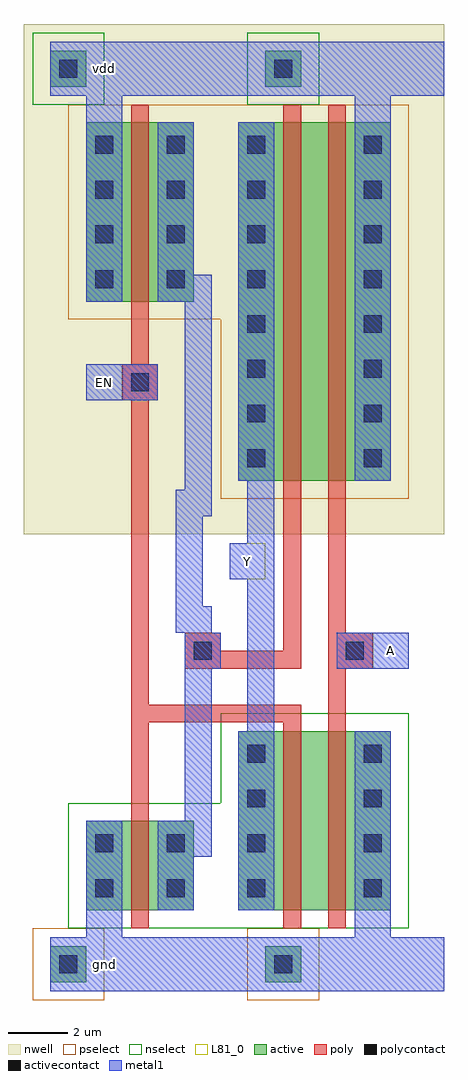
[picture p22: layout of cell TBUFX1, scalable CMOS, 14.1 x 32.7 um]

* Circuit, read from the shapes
.subckt TBUFX1 A EN Y gnd vdd
M1 n1 EN gnd gnd nfet w=3u l=0.6u
M2 n2 EN Y gnd nfet w=6u l=0.6u
M3 gnd A n2 gnd nfet w=6u l=0.6u
M4 n1 EN vdd vdd pfet w=6u l=0.6u
M5 n3 n1 Y vdd pfet w=12u l=0.6u
M6 vdd A n3 vdd pfet w=12u l=0.6u
.ends

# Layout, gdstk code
import gdstk
lib = gdstk.Library(unit=1e-6, precision=1e-09)
def R(c, l, rs):  # rectangles x0, y0, x1, y1
    for r in rs: c.add(gdstk.rectangle(r[:2], r[2:], *l))
def A(c, l, x, y, w, h, nx, ny, dx, dy):  # array of equal rectangles
    R(c, l, [(x+i*dx, y+j*dy, x+i*dx+w, y+j*dy+h) for i in range(nx) for j in range(ny)])
nwell = (42, 0)
active = (43, 0)
pselect = (44, 0)
nselect = (45, 0)
poly = (46, 0)
polycontact = (47, 0)
activecontact = (48, 0)
metal1 = (49, 0)
L81_0 = (81, 0)

tbufx1 = lib.new_cell('TBUFX1')
R(tbufx1, nwell, [(-1.5,14.4,12.6,31.5)])
R(tbufx1, active, [(-0.6,-0.6,0.6,0.6), (6.6,-0.6,7.8,0.6), (0.6,1.8,4.2,4.8), (5.7,1.8,10.8,7.8), (5.7,16.2,10.8,28.2), (0.6,22.2,4.2,28.2), (-0.6,29.4,0.6,30.6), (6.6,29.4,7.8,30.6)])
R(tbufx1, pselect, [(-1.2,-1.2,1.2,1.2), (6,-1.2,8.4,1.2), (5.1,15.6,11.4,21.6), (0,21.6,11.4,28.8)])
R(tbufx1, nselect, [(0,1.2,11.4,5.4), (5.1,5.4,11.4,8.4), (-1.2,28.8,1.2,31.2), (6,28.8,8.4,31.2)])
R(tbufx1, poly, [(2.1,1.2,2.7,8.1), (7.2,1.2,7.8,8.1), (8.7,1.2,9.3,9.9), (2.1,8.1,7.8,8.7), (2.1,8.7,2.7,18.9), (3.9,9.9,7.8,10.5), (8.7,9.9,10.2,11.1), (3.9,10.5,5.1,11.1), (7.2,10.5,7.8,28.8), (8.7,11.1,9.3,28.8), (1.8,18.9,3,20.1), (2.1,20.1,2.7,28.8)])
R(tbufx1, polycontact, [(4.2,10.2,4.8,10.8), (9.3,10.2,9.9,10.8), (2.1,19.2,2.7,19.8)])
A(tbufx1, activecontact, 6, 2.25, 0.6, 0.6, 1, 4, 0, 1.5)
A(tbufx1, activecontact, 9.9, 2.25, 0.6, 0.6, 1, 4, 0, 1.5)
A(tbufx1, activecontact, 6, 16.65, 0.6, 0.6, 1, 8, 0, 1.5)
A(tbufx1, activecontact, 9.9, 16.65, 0.6, 0.6, 1, 8, 0, 1.5)
A(tbufx1, activecontact, 0.9, 22.65, 0.6, 0.6, 1, 4, 0, 1.5)
A(tbufx1, activecontact, 3.3, 22.65, 0.6, 0.6, 1, 4, 0, 1.5)
R(tbufx1, activecontact, [(-0.3,-0.3,0.3,0.3), (6.9,-0.3,7.5,0.3), (0.9,2.25,1.5,2.85), (3.3,2.25,3.9,2.85), (0.9,3.75,1.5,4.35), (3.3,3.75,3.9,4.35), (-0.3,29.7,0.3,30.3), (6.9,29.7,7.5,30.3)])
R(tbufx1, metal1, [(-0.6,-0.9,12.6,0.9), (0.6,0.9,1.8,4.8), (9.6,0.9,10.8,7.8), (3,1.8,4.2,3.6), (5.7,1.8,6.9,7.8), (3,3.6,4.8,4.8), (3.9,4.8,4.8,9.9), (6,7.8,6.9,12.9), (3.9,9.9,5.1,11.1), (9,9.9,11.4,11.1), (3.6,11.1,4.8,12), (3.6,12,4.5,15), (5.4,12.9,6.9,14.1), (6,14.1,6.9,16.2), (3.6,15,4.8,15.9), (3.9,15.9,4.8,22.2), (5.7,16.2,6.9,28.2), (9.6,16.2,10.8,29.1), (0.6,18.9,3,20.1), (0.6,22.2,1.8,29.1), (3,22.2,4.8,23.1), (3,23.1,4.2,28.2), (-0.6,29.1,12.6,30.9)])
R(tbufx1, L81_0, [(10.2,9.9,11.4,11.1), (5.4,12.9,6.6,14.1), (0.6,18.9,1.8,20.1)])
tbufx1.add(gdstk.Label('vdd', (1.2,30), layer=109, texttype=0))
tbufx1.add(gdstk.Label('gnd', (1.2,0), layer=109, texttype=0))
tbufx1.add(gdstk.Label('EN', (1.2,19.5), layer=109, texttype=0))
tbufx1.add(gdstk.Label('A', (10.8,10.5), layer=109, texttype=0))
tbufx1.add(gdstk.Label('Y', (6,13.5), layer=109, texttype=0))

lib.write_gds('TBUFX1.gds')
